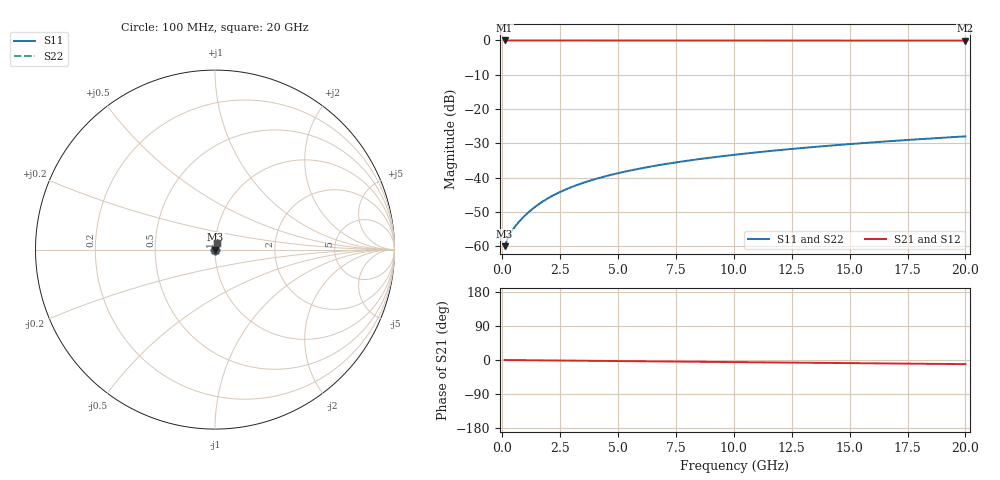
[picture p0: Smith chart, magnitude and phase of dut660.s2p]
! Touchstone file exported from HFSS 2026.1.0
!  File:  C:/ffzhzh/LocalFiles/Ansys_Project_Files/temp_train_TMRDL_660_1783009712_53980.aedt
!  Generated:  12:30:02 AM Jul  3, 2026
!  Design:  TMRDL
!  Project:  temp_train_TMRDL_660_1783009712_53980
! Variables:
!  h_bsmrdl = 2um
!  h_ox = 20um
!  h_rdl = 5um
!  h_sub = 80um
!  h_tmrdl = 4.49um
!  h_tsv = 80um
!  h_via = 3um
!  l_bsmrdl = 300um
!  l_sub = 580.01um
!  l_tmrdl = 180.01um
!  m_sub = 200um
!  pitch = 25.7um
!  r_tsv = 6um
!  s_tmrdl = 10um
!  w_bsmrdl = 18um
!  w_sub = 500um
!  w_tmrdl = 18.65um
!  x_tsv_center1 = 189.335um
!  x_tsv_center2 = 507.335um
!  x_tsv_center3 = 705.995um
!  x_tsv_center4 = 1023.995um
!  x_tsv_center5 = 1222.655um
!  x_tsv_center6 = 1540.655um
# GHz S MA R 50.000000
! Terminal data exported
! Port[1] = TM_RDL1_1_T1
! Port[2] = TM_RDL1_1_T2
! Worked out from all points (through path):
!   200 points, 100 MHz to 20 GHz, reference 50 ohm
!   highest |S21| = -0.01 dB at 100 MHz (marker M1); lowest = -0.1 dB at 20 GHz (marker M2)
!   group delay of S21, straight-line fit = 1.51 ps
!   lowest |S11| = -60.0 dB at 100 MHz (marker M3), VSWR 1.00, Z = 50.1 + j0.0358 ohm
!   |S11| at or under -10 dB: start of sweep to end of sweep
!   |S22| runs from -60.0 to -28.0 dB; largest |S21 - S12| = 2.2e-15
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0.1  0.001005 20.8  0.9991 -0.1  0.9991 -0.1  0.001005 20.8
! Gamma 0 0 0 0
! Port Impedance 50 0 50 0
0.2  0.001218 33.0  0.999 -0.1  0.999 -0.1  0.001218 33.0
0.3  0.001437 40.0  0.9989 -0.2  0.9989 -0.2  0.001437 40.0
0.4  0.001642 44.8  0.9988 -0.2  0.9988 -0.2  0.001642 44.8
0.5  0.00184 48.8  0.9988 -0.3  0.9988 -0.3  0.00184 48.8
0.7  0.002234 55.0  0.9987 -0.4  0.9987 -0.4  0.002234 55.0
0.9  0.002643 59.7  0.9987 -0.5  0.9987 -0.5  0.002643 59.7
1.3  0.003503 65.9  0.9986 -0.7  0.9986 -0.7  0.003503 65.9
1.8  0.004619 70.2  0.9985 -1.0  0.9985 -1.0  0.004619 70.2
2.3  0.005748 72.5  0.9984 -1.3  0.9984 -1.3  0.005748 72.5
2.9  0.007097 74.0  0.9982 -1.6  0.9982 -1.6  0.007097 74.0
3.5  0.008426 74.7  0.998 -2.0  0.998 -2.0  0.008426 74.7
4.2  0.009946 75.1  0.9978 -2.4  0.9978 -2.4  0.009946 75.1
5  0.01164 75.2  0.9975 -2.8  0.9975 -2.8  0.01164 75.2
5.9  0.0135 75.2  0.9972 -3.3  0.9972 -3.3  0.0135 75.2
6.8  0.01531 75.1  0.9969 -3.8  0.9969 -3.8  0.01531 75.1
8.3  0.01826 74.8  0.9965 -4.6  0.9965 -4.6  0.01826 74.8
10.1  0.02172 74.4  0.996 -5.6  0.996 -5.6  0.02172 74.4
11.7  0.02474 74.0  0.9956 -6.5  0.9956 -6.5  0.02474 74.0
13.4  0.02791 73.5  0.9952 -7.4  0.9952 -7.4  0.02791 73.5
16.7  0.03399 72.4  0.9944 -9.2  0.9944 -9.2  0.03399 72.4
20  0.03998 71.2  0.9937 -10.9  0.9937 -10.9  0.03998 71.2
